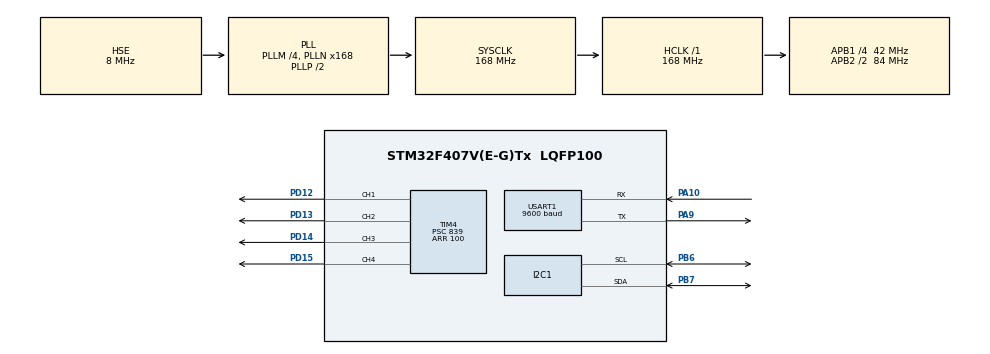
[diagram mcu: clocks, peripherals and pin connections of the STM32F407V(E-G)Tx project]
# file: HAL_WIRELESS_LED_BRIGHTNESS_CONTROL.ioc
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Mcu.Family=STM32F4
Mcu.Name=STM32F407V(E-G)Tx
Mcu.Package=LQFP100
NVIC.PriorityGroup=NVIC_PRIORITYGROUP_4
PA10.Mode=Asynchronous
PA10.Signal=USART1_RX
PA9.Mode=Asynchronous
PA9.Signal=USART1_TX
PB6.Mode=I2C
PB6.Signal=I2C1_SCL
PB7.Mode=I2C
PB7.Signal=I2C1_SDA
PD12.Signal=S_TIM4_CH1
PD13.Signal=S_TIM4_CH2
PD14.Signal=S_TIM4_CH3
PD15.Signal=S_TIM4_CH4
PH0-OSC_IN.Mode=HSE-External-Oscillator
PH0-OSC_IN.Signal=RCC_OSC_IN
PH1-OSC_OUT.Mode=HSE-External-Oscillator
PH1-OSC_OUT.Signal=RCC_OSC_OUT
ProjectManager.HeapSize=0x200
ProjectManager.StackSize=0x400
ProjectManager.TargetToolchain=STM32CubeIDE
RCC.48MHZClocksFreq_Value=84000000
RCC.AHBFreq_Value=168000000
RCC.APB1CLKDivider=RCC_HCLK_DIV4
RCC.APB1Freq_Value=42000000
RCC.APB1TimFreq_Value=84000000
RCC.APB2CLKDivider=RCC_HCLK_DIV2
RCC.APB2Freq_Value=84000000
RCC.APB2TimFreq_Value=168000000
RCC.CortexFreq_Value=168000000
RCC.HCLKFreq_Value=168000000
RCC.HSE_VALUE=8000000
RCC.HSI_VALUE=16000000
RCC.LSE_VALUE=32768
RCC.PLLM=4
RCC.PLLN=168
RCC.PLLSourceVirtual=RCC_PLLSOURCE_HSE
RCC.SYSCLKFreq_VALUE=168000000
RCC.SYSCLKSource=RCC_SYSCLKSOURCE_PLLCLK
RCC.VCOOutputFreq_Value=336000000
SH.S_TIM4_CH1.0=TIM4_CH1,PWM Generation1 CH1
SH.S_TIM4_CH2.0=TIM4_CH2,PWM Generation2 CH2
SH.S_TIM4_CH3.0=TIM4_CH3,PWM Generation3 CH3
SH.S_TIM4_CH4.0=TIM4_CH4,PWM Generation4 CH4
TIM4.Channel-PWM\ Generation1\ CH1=TIM_CHANNEL_1
TIM4.Channel-PWM\ Generation2\ CH2=TIM_CHANNEL_2
TIM4.Channel-PWM\ Generation3\ CH3=TIM_CHANNEL_3
TIM4.Channel-PWM\ Generation4\ CH4=TIM_CHANNEL_4
TIM4.Period=100
TIM4.Prescaler=839
USART1.BaudRate=9600
USART1.VirtualMode=VM_ASYNC
VP_TIM4_VS_ClockSourceINT.Mode=Internal
board=custom

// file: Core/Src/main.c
/* USER CODE BEGIN Header */
/**
  ******************************************************************************
  * @file           : main.c
  * @brief          : Main program body
  ******************************************************************************
  * @attention
  *
  * Copyright (c) 2024 STMicroelectronics.
  * All rights reserved.
  *
  * This software is licensed under terms that can be found in the LICENSE file
  * in the root directory of this software component.
  * If no LICENSE file comes with this software, it is provided AS-IS.
  *
  ******************************************************************************
  */
/* USER CODE END Header */
#include "main.h"

/* USER CODE BEGIN Includes */
#include <stdio.h>
#include <string.h>
#include <stdlib.h>
#include "ssd1306_conf_template.h"
#include "ssd1306.h"
#include "ssd1306_fonts.h"

/* USER CODE END Includes */

I2C_HandleTypeDef hi2c1;

TIM_HandleTypeDef htim4;

UART_HandleTypeDef huart1;

void SystemClock_Config(void);
static void MX_GPIO_Init(void);
static void MX_USART1_UART_Init(void);
static void MX_TIM4_Init(void);
static void MX_I2C1_Init(void);

/* USER CODE BEGIN 0 */
char tx_buffer[50], rx_buffer[50], data[50];
uint16_t pulse, last_pulse;
int count;
void oled_config(uint8_t pulse)
{
	if(pulse==last_pulse)
	{

	}
	else
	{
	  ssd1306_FillRectangle(1, 10, 100,20 , White);
	  ssd1306_UpdateScreen();
	  ssd1306_SetCursor(85, 22);
	  ssd1306_WriteString("   ", Font_7x10, Black);
	  ssd1306_FillRectangle(1, 10, pulse,20 , Black);
	  ssd1306_UpdateScreen();
	  ssd1306_SetCursor(1, 22);
	  sprintf(data,"Brightness: %u",pulse);
	  ssd1306_WriteString(data, Font_7x10, Black);
	  ssd1306_UpdateScreen();
	}
	last_pulse=pulse;
}
uint16_t pulse_converter()
{
	if(rx_buffer[1]=='\0' && rx_buffer[2]=='\0' && rx_buffer[0]!='\0' )
	{
		oled_config(pulse);
		return pulse=(uint16_t) (rx_buffer[0]-'0');

	}
	else if (rx_buffer[1]!='\0' && rx_buffer[2]=='\0' && rx_buffer[0]!='\0')
	{
		oled_config(pulse);
		return pulse=(uint16_t)((rx_buffer[0]-'0')*10+(rx_buffer[1]-'0'));
	}
	else if(rx_buffer[1]!='\0' && rx_buffer[2]!='\0' && rx_buffer[0]!='\0')
	{
		oled_config(pulse);
		return pulse=(uint16_t)((rx_buffer[0]-'0')*100+(rx_buffer[1]-'0')*10+(rx_buffer[2]-'0'));
	}
	else
	{
		oled_config(pulse);
		return pulse;
		//keep the last pulse value
	}

}
void led_brightness(uint16_t pulse)
{

	__HAL_TIM_SET_COMPARE(&htim4,TIM_CHANNEL_1, pulse);
	__HAL_TIM_SET_COMPARE(&htim4,TIM_CHANNEL_2, pulse);
	__HAL_TIM_SET_COMPARE(&htim4,TIM_CHANNEL_3, pulse);
	__HAL_TIM_SET_COMPARE(&htim4,TIM_CHANNEL_4, pulse);
}

/* USER CODE END 0 */

int main(void)
{

  /* MCU Configuration--------------------------------------------------------*/

  /* Reset of all peripherals, Initializes the Flash interface and the Systick. */
  HAL_Init();

  /* Configure the system clock */
  SystemClock_Config();

  /* Initialize all configured peripherals */
  MX_GPIO_Init();
  MX_USART1_UART_Init();
  MX_TIM4_Init();
  MX_I2C1_Init();
  /* USER CODE BEGIN 2 */
  HAL_TIM_PWM_Start(&htim4, TIM_CHANNEL_1);
  HAL_TIM_PWM_Start(&htim4, TIM_CHANNEL_2);
  HAL_TIM_PWM_Start(&htim4, TIM_CHANNEL_3);
  HAL_TIM_PWM_Start(&htim4, TIM_CHANNEL_4);

  ssd1306_Init();
  ssd1306_Fill(White);
  ssd1306_FillRectangle(1, 10, pulse,20 , Black);
  ssd1306_UpdateScreen();
  ssd1306_SetCursor(1, 22);
  sprintf(data,"Brightness: %u",pulse);
  ssd1306_WriteString(data, Font_7x10, Black);
  ssd1306_UpdateScreen();

  /* USER CODE END 2 */

  /* Infinite loop */
  while (1)
  {

    /* USER CODE BEGIN 3 */
	  memset(rx_buffer, '\0', 50);
	  HAL_UART_Receive(&huart1, (uint8_t*)rx_buffer, 50, 100);
	  pulse_converter();
	  led_brightness(pulse);
  }
  /* USER CODE END 3 */
}

void SystemClock_Config(void)
{
  RCC_OscInitTypeDef RCC_OscInitStruct = {0};
  RCC_ClkInitTypeDef RCC_ClkInitStruct = {0};

  /** Configure the main internal regulator output voltage
  */
  __HAL_RCC_PWR_CLK_ENABLE();
  __HAL_PWR_VOLTAGESCALING_CONFIG(PWR_REGULATOR_VOLTAGE_SCALE1);

  /** Initializes the RCC Oscillators according to the specified parameters
  * in the RCC_OscInitTypeDef structure.
  */
  RCC_OscInitStruct.OscillatorType = RCC_OSCILLATORTYPE_HSE;
  RCC_OscInitStruct.HSEState = RCC_HSE_ON;
  RCC_OscInitStruct.PLL.PLLState = RCC_PLL_ON;
  RCC_OscInitStruct.PLL.PLLSource = RCC_PLLSOURCE_HSE;
  RCC_OscInitStruct.PLL.PLLM = 4;
  RCC_OscInitStruct.PLL.PLLN = 168;
  RCC_OscInitStruct.PLL.PLLP = RCC_PLLP_DIV2;
  RCC_OscInitStruct.PLL.PLLQ = 4;
  if (HAL_RCC_OscConfig(&RCC_OscInitStruct) != HAL_OK)
  {
    Error_Handler();
  }

  /** Initializes the CPU, AHB and APB buses clocks
  */
  RCC_ClkInitStruct.ClockType = RCC_CLOCKTYPE_HCLK|RCC_CLOCKTYPE_SYSCLK
                              |RCC_CLOCKTYPE_PCLK1|RCC_CLOCKTYPE_PCLK2;
  RCC_ClkInitStruct.SYSCLKSource = RCC_SYSCLKSOURCE_PLLCLK;
  RCC_ClkInitStruct.AHBCLKDivider = RCC_SYSCLK_DIV1;
  RCC_ClkInitStruct.APB1CLKDivider = RCC_HCLK_DIV4;
  RCC_ClkInitStruct.APB2CLKDivider = RCC_HCLK_DIV2;

  if (HAL_RCC_ClockConfig(&RCC_ClkInitStruct, FLASH_LATENCY_5) != HAL_OK)
  {
    Error_Handler();
  }
}

static void MX_I2C1_Init(void)
{

  hi2c1.Instance = I2C1;
  hi2c1.Init.ClockSpeed = 100000;
  hi2c1.Init.DutyCycle = I2C_DUTYCYCLE_2;
  hi2c1.Init.OwnAddress1 = 0;
  hi2c1.Init.AddressingMode = I2C_ADDRESSINGMODE_7BIT;
  hi2c1.Init.DualAddressMode = I2C_DUALADDRESS_DISABLE;
  hi2c1.Init.OwnAddress2 = 0;
  hi2c1.Init.GeneralCallMode = I2C_GENERALCALL_DISABLE;
  hi2c1.Init.NoStretchMode = I2C_NOSTRETCH_DISABLE;
  if (HAL_I2C_Init(&hi2c1) != HAL_OK)
  {
    Error_Handler();
  }

}

static void MX_TIM4_Init(void)
{

  TIM_ClockConfigTypeDef sClockSourceConfig = {0};
  TIM_MasterConfigTypeDef sMasterConfig = {0};
  TIM_OC_InitTypeDef sConfigOC = {0};

  htim4.Instance = TIM4;
  htim4.Init.Prescaler = 839;
  htim4.Init.CounterMode = TIM_COUNTERMODE_UP;
  htim4.Init.Period = 100;
  htim4.Init.ClockDivision = TIM_CLOCKDIVISION_DIV1;
  htim4.Init.AutoReloadPreload = TIM_AUTORELOAD_PRELOAD_DISABLE;
  if (HAL_TIM_Base_Init(&htim4) != HAL_OK)
  {
    Error_Handler();
  }
  sClockSourceConfig.ClockSource = TIM_CLOCKSOURCE_INTERNAL;
  if (HAL_TIM_ConfigClockSource(&htim4, &sClockSourceConfig) != HAL_OK)
  {
    Error_Handler();
  }
  if (HAL_TIM_PWM_Init(&htim4) != HAL_OK)
  {
    Error_Handler();
  }
  sMasterConfig.MasterOutputTrigger = TIM_TRGO_RESET;
  sMasterConfig.MasterSlaveMode = TIM_MASTERSLAVEMODE_DISABLE;
  if (HAL_TIMEx_MasterConfigSynchronization(&htim4, &sMasterConfig) != HAL_OK)
  {
    Error_Handler();
  }
  sConfigOC.OCMode = TIM_OCMODE_PWM1;
  sConfigOC.Pulse = 0;
  sConfigOC.OCPolarity = TIM_OCPOLARITY_HIGH;
  sConfigOC.OCFastMode = TIM_OCFAST_DISABLE;
  if (HAL_TIM_PWM_ConfigChannel(&htim4, &sConfigOC, TIM_CHANNEL_1) != HAL_OK)
  {
    Error_Handler();
  }
  if (HAL_TIM_PWM_ConfigChannel(&htim4, &sConfigOC, TIM_CHANNEL_2) != HAL_OK)
  {
    Error_Handler();
  }
  if (HAL_TIM_PWM_ConfigChannel(&htim4, &sConfigOC, TIM_CHANNEL_3) != HAL_OK)
  {
    Error_Handler();
  }
  if (HAL_TIM_PWM_ConfigChannel(&htim4, &sConfigOC, TIM_CHANNEL_4) != HAL_OK)
  {
    Error_Handler();
  }
  HAL_TIM_MspPostInit(&htim4);

}

static void MX_USART1_UART_Init(void)
{

  huart1.Instance = USART1;
  huart1.Init.BaudRate = 9600;
  huart1.Init.WordLength = UART_WORDLENGTH_8B;
  huart1.Init.StopBits = UART_STOPBITS_1;
  huart1.Init.Parity = UART_PARITY_NONE;
  huart1.Init.Mode = UART_MODE_TX_RX;
  huart1.Init.HwFlowCtl = UART_HWCONTROL_NONE;
  huart1.Init.OverSampling = UART_OVERSAMPLING_16;
  if (HAL_UART_Init(&huart1) != HAL_OK)
  {
    Error_Handler();
  }

}

static void MX_GPIO_Init(void)
{

  /* GPIO Ports Clock Enable */
  __HAL_RCC_GPIOH_CLK_ENABLE();
  __HAL_RCC_GPIOD_CLK_ENABLE();
  __HAL_RCC_GPIOA_CLK_ENABLE();
  __HAL_RCC_GPIOB_CLK_ENABLE();

}

void Error_Handler(void)
{
  __disable_irq();
  while (1)
  {
  }
}
